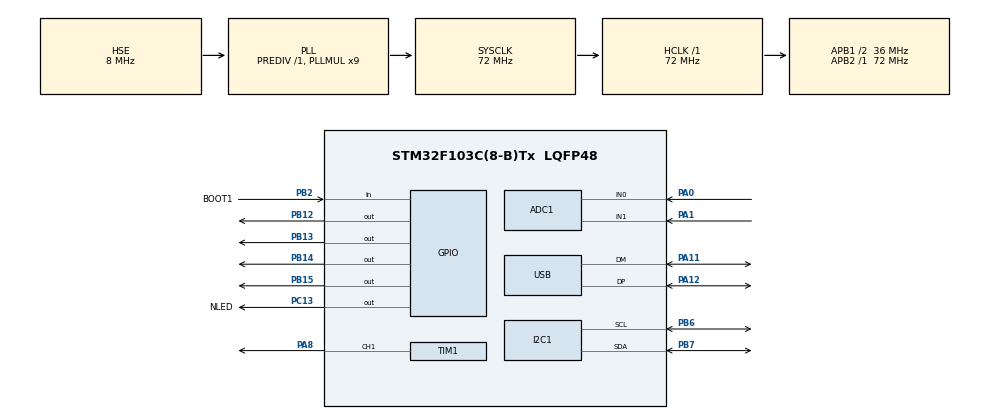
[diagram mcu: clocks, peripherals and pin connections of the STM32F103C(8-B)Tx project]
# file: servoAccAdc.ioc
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ADC1.Channel-0\#ChannelRegularConversion=ADC_CHANNEL_0
ADC1.Channel-1\#ChannelRegularConversion=ADC_CHANNEL_1
ADC1.ContinuousConvMode=DISABLE
ADC1.ExternalTrigConv=ADC_EXTERNALTRIGCONV_T3_TRGO
ADC1.NbrOfConversion=2
ADC1.NbrOfConversionFlag=1
ADC1.Rank-0\#ChannelRegularConversion=1
ADC1.Rank-1\#ChannelRegularConversion=2
ADC1.SamplingTime-0\#ChannelRegularConversion=ADC_SAMPLETIME_1CYCLE_5
ADC1.SamplingTime-1\#ChannelRegularConversion=ADC_SAMPLETIME_1CYCLE_5
ADC1.master=1
Dma.ADC1.0.Direction=DMA_PERIPH_TO_MEMORY
Dma.ADC1.0.Instance=DMA1_Channel1
Dma.ADC1.0.MemDataAlignment=DMA_MDATAALIGN_HALFWORD
Dma.ADC1.0.MemInc=DMA_MINC_ENABLE
Dma.ADC1.0.Mode=DMA_CIRCULAR
Dma.ADC1.0.PeriphDataAlignment=DMA_PDATAALIGN_HALFWORD
Dma.ADC1.0.PeriphInc=DMA_PINC_DISABLE
Dma.ADC1.0.Priority=DMA_PRIORITY_HIGH
Dma.Request0=ADC1
I2C1.I2C_Mode=I2C_Fast
Mcu.Family=STM32F1
Mcu.Name=STM32F103C(8-B)Tx
Mcu.Package=LQFP48
NVIC.ADC1_2_IRQn=true\:0\:0\:false\:false\:true\:true\:true
NVIC.DMA1_Channel1_IRQn=true\:0\:0\:false\:false\:true\:false\:true
NVIC.I2C1_ER_IRQn=true\:0\:0\:false\:false\:true\:true\:true
NVIC.I2C1_EV_IRQn=true\:0\:0\:false\:false\:true\:true\:true
NVIC.PriorityGroup=NVIC_PRIORITYGROUP_4
NVIC.TIM1_BRK_IRQn=true\:0\:0\:false\:false\:true\:true\:true
NVIC.TIM1_CC_IRQn=true\:0\:0\:false\:false\:true\:true\:true
NVIC.TIM1_TRG_COM_IRQn=true\:0\:0\:false\:false\:true\:true\:true
NVIC.TIM1_UP_IRQn=true\:0\:0\:false\:false\:true\:true\:true
NVIC.TIM3_IRQn=true\:0\:0\:false\:false\:true\:true\:true
NVIC.USB_HP_CAN1_TX_IRQn=true\:0\:0\:false\:false\:true\:true\:true
NVIC.USB_LP_CAN1_RX0_IRQn=true\:0\:0\:false\:false\:true\:true\:true
PA0-WKUP.Signal=ADCx_IN0
PA1.Signal=ADCx_IN1
PA11.Mode=Device
PA11.Signal=USB_DM
PA12.Mode=Device
PA12.Signal=USB_DP
PA13.Mode=Serial_Wire
PA13.Signal=SYS_JTMS-SWDIO
PA14.Mode=Serial_Wire
PA14.Signal=SYS_JTCK-SWCLK
PA8.Signal=S_TIM1_CH1
PB12.Signal=GPIO_Output
PB13.Signal=GPIO_Output
PB14.Signal=GPIO_Output
PB15.Signal=GPIO_Output
PB2.GPIO_Label=BOOT1
PB2.Signal=GPIO_Input
PB6.Mode=I2C
PB6.Signal=I2C1_SCL
PB7.Mode=I2C
PB7.Signal=I2C1_SDA
PC13-TAMPER-RTC.GPIO_Label=NLED
PC13-TAMPER-RTC.PinState=GPIO_PIN_SET
PC13-TAMPER-RTC.Signal=GPIO_Output
PD0-OSC_IN.Mode=HSE-External-Oscillator
PD0-OSC_IN.Signal=RCC_OSC_IN
PD1-OSC_OUT.Mode=HSE-External-Oscillator
PD1-OSC_OUT.Signal=RCC_OSC_OUT
ProjectManager.HeapSize=0x200
ProjectManager.StackSize=0x400
ProjectManager.TargetToolchain=Makefile
RCC.ADCPresc=RCC_ADCPCLK2_DIV6
RCC.AHBFreq_Value=72000000
RCC.APB1CLKDivider=RCC_HCLK_DIV2
RCC.APB1Freq_Value=36000000
RCC.APB1TimFreq_Value=72000000
RCC.APB2Freq_Value=72000000
RCC.APB2TimFreq_Value=72000000
RCC.HCLKFreq_Value=72000000
RCC.PLLMUL=RCC_PLL_MUL9
RCC.PLLSourceVirtual=RCC_PLLSOURCE_HSE
RCC.RCC_MCOSource=RCC_MCO1SOURCE_PLLCLK
RCC.SYSCLKFreq_VALUE=72000000
RCC.SYSCLKSource=RCC_SYSCLKSOURCE_PLLCLK
RCC.USBFreq_Value=48000000
RCC.USBPrescaler=RCC_USBCLKSOURCE_PLL_DIV1_5
SH.ADCx_IN0.0=ADC1_IN0,IN0
SH.ADCx_IN1.0=ADC1_IN1,IN1
SH.S_TIM1_CH1.0=TIM1_CH1,PWM Generation1 CH1
TIM1.Channel-PWM\ Generation1\ CH1=TIM_CHANNEL_1
TIM1.Period=1199
TIM1.Prescaler=1199
TIM1.Pulse-PWM\ Generation1\ CH1=599
TIM3.Period=1439
TIM3.Prescaler=999
TIM3.TIM_MasterOutputTrigger=TIM_TRGO_UPDATE
VP_TIM1_VS_ClockSourceINT.Mode=Internal
VP_TIM3_VS_ClockSourceINT.Mode=Internal
board=custom

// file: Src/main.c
/* USER CODE BEGIN Header */
/**
  ******************************************************************************
  * @file           : main.c
  * @brief          : Main program body
  ******************************************************************************
  * @attention
  *
  * <h2><center>&copy; Copyright (c) 2019 STMicroelectronics.
  * All rights reserved.</center></h2>
  *
  * This software component is licensed by ST under BSD 3-Clause license,
  * the "License"; You may not use this file except in compliance with the
  * License. You may obtain a copy of the License at:
  *                        opensource.org/licenses/BSD-3-Clause
  *
  ******************************************************************************
  */
/* USER CODE END Header */

#include "main.h"
#include "adc.h"
#include "dma.h"
#include "i2c.h"
#include "tim.h"
#include "usb.h"
#include "gpio.h"

/* USER CODE BEGIN PV */
uint8_t rawMpu[6];
uint16_t rawAdc[2];
uint32_t servoPosition;
/* USER CODE END PV */

void SystemClock_Config(void);

int main(void)
{
    /* USER CODE BEGIN 1 */
    uint8_t mpuConfig;
    /* USER CODE END 1 */

    /* MCU Configuration--------------------------------------------------------*/

    /* Reset of all peripherals, Initializes the Flash interface and the Systick. */
    HAL_Init();

    /* Configure the system clock */
    SystemClock_Config();

    /* Initialize all configured peripherals */
    MX_GPIO_Init();
    MX_DMA_Init();
    MX_USB_PCD_Init();
    MX_ADC1_Init();
    MX_I2C1_Init();
    MX_TIM1_Init();
    MX_TIM3_Init();
    /* USER CODE BEGIN 2 */
    mpuConfig = 0b00000000;
    HAL_I2C_Mem_Write(&hi2c1, 0xD0, 0x1C, I2C_MEMADD_SIZE_8BIT, &mpuConfig, 1, 100);

    HAL_TIM_PWM_Start(&htim1, TIM_CHANNEL_1);
    HAL_TIM_Base_Start_IT(&htim3);
    HAL_ADCEx_Calibration_Start(&hadc1);
    HAL_ADC_Start_DMA(&hadc1, (uint32_t *) rawAdc, 2);

    /* USER CODE END 2 */

    /* Infinite loop */
    while (1)
    {

    }
}

void SystemClock_Config(void)
{
    RCC_OscInitTypeDef RCC_OscInitStruct = {0};
    RCC_ClkInitTypeDef RCC_ClkInitStruct = {0};
    RCC_PeriphCLKInitTypeDef PeriphClkInit = {0};

    /** Initializes the CPU, AHB and APB busses clocks
    */
    RCC_OscInitStruct.OscillatorType = RCC_OSCILLATORTYPE_HSE;
    RCC_OscInitStruct.HSEState = RCC_HSE_ON;
    RCC_OscInitStruct.HSEPredivValue = RCC_HSE_PREDIV_DIV1;
    RCC_OscInitStruct.HSIState = RCC_HSI_ON;
    RCC_OscInitStruct.PLL.PLLState = RCC_PLL_ON;
    RCC_OscInitStruct.PLL.PLLSource = RCC_PLLSOURCE_HSE;
    RCC_OscInitStruct.PLL.PLLMUL = RCC_PLL_MUL9;
    if (HAL_RCC_OscConfig(&RCC_OscInitStruct) != HAL_OK)
    {
        Error_Handler();
    }
    /** Initializes the CPU, AHB and APB busses clocks
    */
    RCC_ClkInitStruct.ClockType = RCC_CLOCKTYPE_HCLK|RCC_CLOCKTYPE_SYSCLK
                                  |RCC_CLOCKTYPE_PCLK1|RCC_CLOCKTYPE_PCLK2;
    RCC_ClkInitStruct.SYSCLKSource = RCC_SYSCLKSOURCE_PLLCLK;
    RCC_ClkInitStruct.AHBCLKDivider = RCC_SYSCLK_DIV1;
    RCC_ClkInitStruct.APB1CLKDivider = RCC_HCLK_DIV2;
    RCC_ClkInitStruct.APB2CLKDivider = RCC_HCLK_DIV1;

    if (HAL_RCC_ClockConfig(&RCC_ClkInitStruct, FLASH_LATENCY_2) != HAL_OK)
    {
        Error_Handler();
    }
    PeriphClkInit.PeriphClockSelection = RCC_PERIPHCLK_ADC|RCC_PERIPHCLK_USB;
    PeriphClkInit.AdcClockSelection = RCC_ADCPCLK2_DIV6;
    PeriphClkInit.UsbClockSelection = RCC_USBCLKSOURCE_PLL_DIV1_5;
    if (HAL_RCCEx_PeriphCLKConfig(&PeriphClkInit) != HAL_OK)
    {
        Error_Handler();
    }
}

/* USER CODE BEGIN 4 */
void HAL_ADC_ConvCpltCallback(ADC_HandleTypeDef *hadc)
{
    HAL_I2C_Mem_Read_IT(&hi2c1, 0xD0, 0x3B, I2C_MEMADD_SIZE_8BIT, rawMpu, 6);
    HAL_GPIO_TogglePin(GPIOB, GPIO_PIN_12);
}

void HAL_I2C_MemRxCpltCallback(I2C_HandleTypeDef *hi2c)
{
    HAL_GPIO_TogglePin(GPIOB, GPIO_PIN_13);
    uint32_t xAcc = (rawMpu[0] << 8) | (0x00F0 & rawMpu[1]);
    uint32_t yAcc = (rawMpu[2] << 8) | (0x00F0 & rawMpu[3]);
    uint32_t zAcc = (rawMpu[4] << 8) | (0x00F0 & rawMpu[5]);

    uint32_t servoPosition = 50 + 0.005* xAcc;
    htim1.Instance->CCR1 = servoPosition;
}
/* USER CODE END 4 */

void Error_Handler(void)
{
}

/************************ (C) COPYRIGHT STMicroelectronics *****END OF FILE****/
